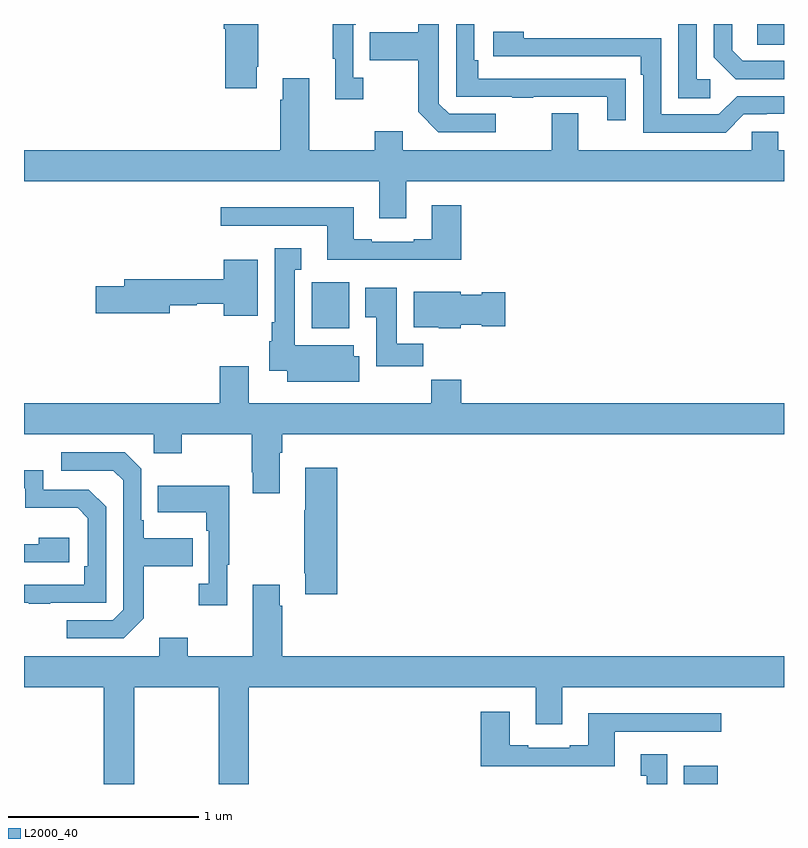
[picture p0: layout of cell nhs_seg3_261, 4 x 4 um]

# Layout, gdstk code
import gdstk
lib = gdstk.Library(unit=1e-6, precision=1e-09)
def R(c, l, rs):  # rectangles x0, y0, x1, y1
    for r in rs: c.add(gdstk.rectangle(r[:2], r[2:], *l))
def P(c, l, *ps):  # polygons
    for p in ps: c.add(gdstk.Polygon(p, *l))
L2000_40 = (2000, 40)

nhs_seg3_261 = lib.new_cell('nhs_seg3_261')
R(nhs_seg3_261, L2000_40, [(126.473,708.4,126.652,708.496), (124.514,710.798,124.711,711.04), (126.858,712.291,127,712.4)])
P(nhs_seg3_261, L2000_40, [(124.225,712.174),(124.233,712.174),(124.233,712.4),(124.052,712.4),(124.052,712.374),(124.058,712.374),(124.058,712.062),(124.225,712.062)],
  [(126.613,712.11),(126.54,712.11),(126.54,712.4),(126.444,712.4),(126.444,712.009),(126.613,712.009)],
  [(124.786,712.118),(124.734,712.118),(124.734,712.397),(124.747,712.397),(124.747,712.4),(124.626,712.4),(124.626,712.217),(124.637,712.217),(124.637,712.005),(124.786,712.005)],
  [(125.482,711.927),(125.238,711.927),(125.184,711.981),(125.184,712.4),(125.076,712.4),(125.076,712.357),(124.819,712.357),(124.819,712.21),(125.076,712.21),(125.076,711.937),(125.181,711.831),(125.482,711.831)],
  [(127,712.206),(126.784,712.206),(126.727,712.263),(126.727,712.4),(126.63,712.4),(126.63,712.226),(126.746,712.11),(127,712.11)],
  [(126.167,712.112),(126.065,712.112),(126.065,712.113),(125.39,712.113),(125.39,712.21),(125.37,712.21),(125.37,712.4),(125.274,712.4),(125.274,712.017),(125.569,712.017),(125.569,712.012),(125.681,712.012),(125.681,712.017),(126.071,712.017),(126.071,711.894),(126.167,711.894)],
  [(126.789,711.924),(126.908,711.924),(126.908,711.927),(127,711.927),(127,712.02),(126.753,712.02),(126.657,711.924),(126.354,711.924),(126.354,712.326),(125.63,712.326),(125.63,712.36),(125.469,712.36),(125.469,712.23),(126.245,712.23),(126.245,712.133),(126.258,712.133),(126.258,711.828),(126.693,711.828)],
  [(125.011,711.572),(127,711.572),(127,711.736),(126.969,711.736),(126.969,711.834),(126.831,711.834),(126.831,711.736),(125.917,711.736),(125.917,711.931),(125.777,711.931),(125.777,711.736),(124.993,711.736),(124.993,711.835),(124.846,711.835),(124.846,711.736),(124.501,711.736),(124.501,712.114),(124.361,712.114),(124.361,712.001),(124.349,712.001),(124.349,711.736),(123,711.736),(123,711.572),(124.871,711.572),(124.871,711.378),(125.011,711.378)],
  [(125.3,711.445),(125.147,711.445),(125.147,711.268),(125.051,711.268),(125.051,711.255),(124.831,711.255),(124.831,711.268),(124.735,711.268),(124.735,711.436),(124.035,711.436),(124.035,711.339),(124.595,711.339),(124.595,711.158),(125.3,711.158)],
  [(124.765,710.651),(124.735,710.651),(124.735,710.71),(124.426,710.71),(124.426,711.107),(124.459,711.107),(124.459,711.22),(124.319,711.22),(124.319,710.83),(124.304,710.83),(124.304,710.73),(124.292,710.73),(124.292,710.576),(124.385,710.576),(124.385,710.516),(124.765,710.516)],
  [(124.231,711.16),(124.052,711.16),(124.052,711.056),(123.527,711.056),(123.527,711.02),(123.378,711.02),(123.378,710.878),(123.766,710.878),(123.766,710.92),(123.909,710.92),(123.909,710.928),(124.052,710.928),(124.052,710.864),(124.231,710.864)],
  [(125.102,710.716),(124.963,710.716),(124.963,711.013),(124.796,711.013),(124.796,710.857),(124.853,710.857),(124.853,710.598),(125.102,710.598)],
  [(125.298,710.816),(125.409,710.816),(125.409,710.809),(125.533,710.809),(125.533,710.987),(125.409,710.987),(125.409,710.974),(125.298,710.974),(125.298,710.992),(125.051,710.992),(125.051,710.804),(125.184,710.804),(125.184,710.798),(125.298,710.798)],
  [(124.345,710.144),(124.358,710.144),(124.358,710.24),(127,710.24),(127,710.404),(125.3,710.404),(125.3,710.528),(125.143,710.528),(125.143,710.404),(124.183,710.404),(124.183,710.599),(124.031,710.599),(124.031,710.404),(123,710.404),(123,710.24),(123.684,710.24),(123.684,710.141),(123.831,710.141),(123.831,710.24),(124.198,710.24),(124.198,710.041),(124.205,710.041),(124.205,709.929),(124.345,709.929)],
  [(123.631,709.273),(123.631,709.546),(123.887,709.546),(123.887,709.693),(123.631,709.693),(123.631,709.789),(123.618,709.789),(123.618,710.058),(123.531,710.145),(123.195,710.145),(123.195,710.049),(123.471,710.049),(123.522,709.998),(123.522,709.317),(123.468,709.263),(123.225,709.263),(123.225,709.167),(123.525,709.167)],
  [(124.649,710.065),(124.481,710.065),(124.481,709.841),(124.474,709.841),(124.474,709.51),(124.481,709.51),(124.481,709.398),(124.649,709.398)],
  [(123.137,709.353),(123.432,709.353),(123.432,709.86),(123.342,709.95),(123.102,709.95),(123.102,710.052),(123,710.052),(123,709.956),(123.006,709.956),(123.006,709.853),(123.283,709.853),(123.336,709.8),(123.336,709.546),(123.316,709.546),(123.316,709.449),(123,709.449),(123,709.353),(123.025,709.353),(123.025,709.348),(123.137,709.348)],
  [(124.069,709.553),(124.081,709.553),(124.081,709.969),(123.703,709.969),(123.703,709.829),(123.96,709.829),(123.96,709.733),(123.972,709.733),(123.972,709.454),(123.921,709.454),(123.921,709.341),(124.069,709.341)],
  [(123.238,709.696),(123.077,709.696),(123.077,709.662),(123,709.662),(123,709.566),(123.238,709.566)],
  [(123.579,708.908),(124.024,708.908),(124.024,708.4),(124.184,708.4),(124.184,708.908),(125.693,708.908),(125.693,708.714),(125.833,708.714),(125.833,708.908),(127,708.908),(127,709.072),(124.358,709.072),(124.358,709.337),(124.345,709.337),(124.345,709.45),(124.205,709.45),(124.205,709.072),(123.861,709.072),(123.861,709.171),(123.713,709.171),(123.713,709.072),(123,709.072),(123,708.908),(123.419,708.908),(123.419,708.4),(123.579,708.4)],
  [(126.109,708.675),(126.67,708.675),(126.67,708.772),(125.969,708.772),(125.969,708.604),(125.873,708.604),(125.873,708.591),(125.653,708.591),(125.653,708.604),(125.557,708.604),(125.557,708.781),(125.405,708.781),(125.405,708.494),(126.109,708.494)],
  [(126.385,708.556),(126.245,708.556),(126.245,708.443),(126.278,708.443),(126.278,708.4),(126.385,708.4)])

lib.write_gds('nhs_seg3_261.gds')
